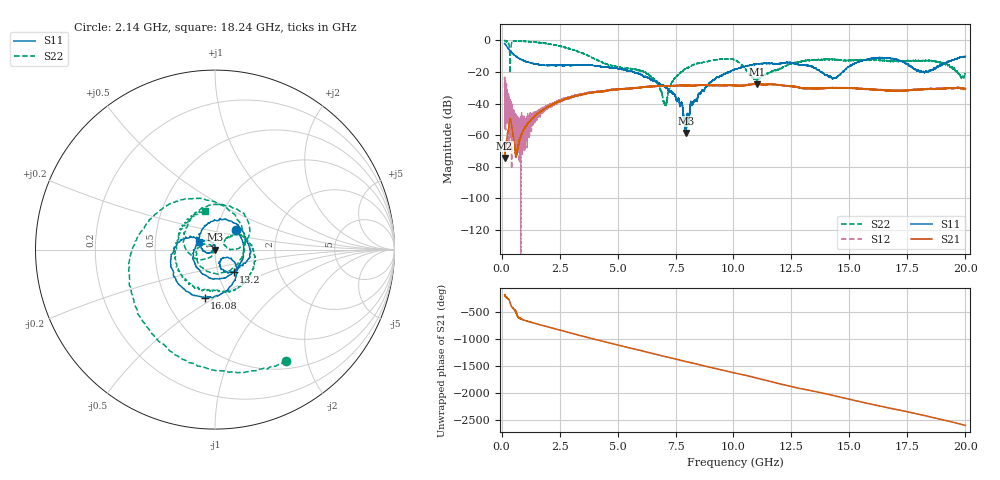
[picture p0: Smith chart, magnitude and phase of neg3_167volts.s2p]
!Created with skrf (http://scikit-rf.org).
# GHz S RI R 50.0
!freq ReS11 ImS11 ReS21 ImS21 ReS12 ImS12 ReS22 ImS22
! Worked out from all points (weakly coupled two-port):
!   20013 points, 130 MHz to 20 GHz, reference 50 ohm
!   highest |S21| = -27.76 dB at 11 GHz (marker M1); lowest = -74.4 dB at 130 MHz (marker M2)
!   lowest |S11| = -58.5 dB at 7.955 GHz (marker M3), VSWR 1.00, Z = 49.9 + j0.0325 ohm
!   |S11| at or under -10 dB: 604.6639 MHz to 605.6697 MHz (1.006 MHz wide, 0.166 % of centre); 606.2 MHz to end of sweep
!   |S22| runs from -41.3 to -0.1 dB; largest |S21 - S12| = 0.068
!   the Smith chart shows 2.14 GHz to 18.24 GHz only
!   S11 on the Smith chart (normalised r, x): 2.14 GHz: 1.23, +0.28; 13.2 GHz: 1.19, -0.30; 16.08 GHz: 0.78, -0.45; 18.24 GHz: 0.84, +0.07
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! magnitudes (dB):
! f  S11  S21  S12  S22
! 130 MHz  -2.0  -74.4  -30.1  -0.2
! 359 MHz  -6.5  -49.3  -40.3  -14.9
! 612 MHz  -10.1  -72.6  -51.4  -0.5
! 757 MHz  -11.5  -64.0  -49.5  -0.6
! 1.214 GHz  -14.1  -51.2  -51.8  -0.9
! 2.14 GHz  -15.8  -41.0  -41.3  -2.6
! 3.442 GHz  -15.6  -34.4  -34.3  -8.0
! 6.135 GHz  -23.1  -29.5  -29.5  -20.2
! 6.754 GHz  -27.0  -29.0  -29.1  -28.1
! 7.058 GHz  -29.6  -28.9  -29.1  -40.9
! 7.704 GHz  -40.7  -28.5  -28.4  -20.6
! 7.955 GHz  -58.5  -28.7  -28.5  -17.8
! 8.576 GHz  -33.8  -28.4  -28.3  -14.2
! 10.06 GHz  -18.3  -28.6  -28.6  -12.5
! 11 GHz  -15.0  -27.8  -27.8  -25.1
! 13.2 GHz  -15.9  -30.4  -30.7  -12.7
! 13.38 GHz  -16.6  -30.5  -30.6  -12.6
! 14.35 GHz  -24.0  -30.1  -30.2  -12.1
! 16.08 GHz  -11.2  -31.2  -31.2  -12.6
! 16.69 GHz  -11.3  -31.8  -31.8  -13.0
! 18.24 GHz  -20.5  -31.0  -30.8  -13.1
! 20 GHz  -10.2  -30.8  -30.7  -20.6
